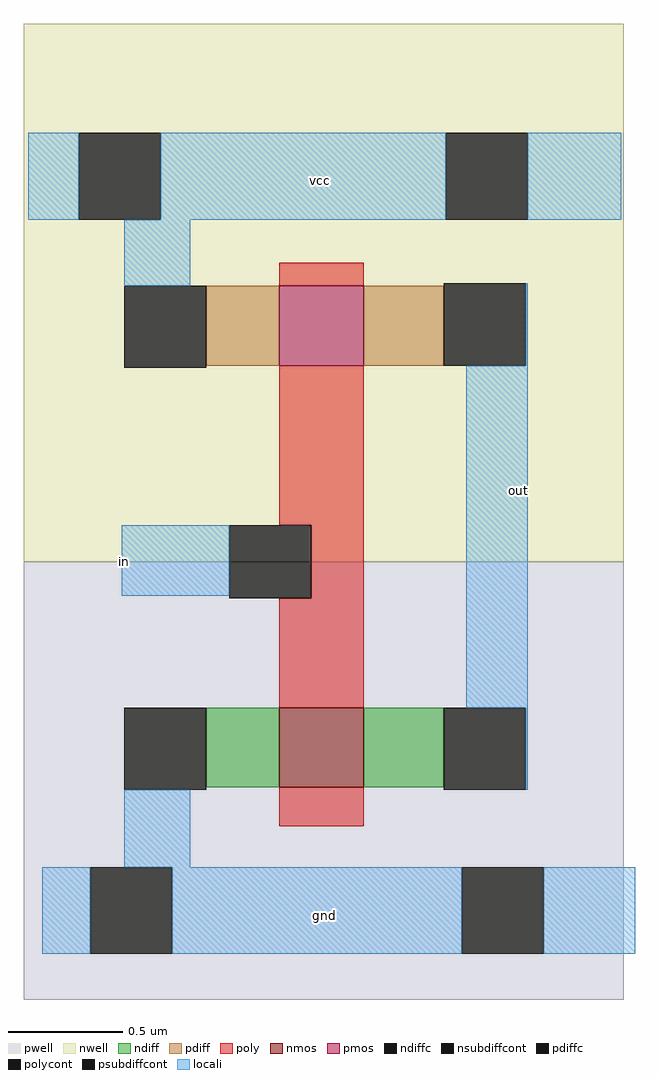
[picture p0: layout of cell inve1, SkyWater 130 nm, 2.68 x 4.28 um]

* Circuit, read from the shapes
.subckt inve1 gnd in out vcc
XM1 out in gnd gnd sky130_fd_pr__nfet_01v8 w=0.35 l=0.37
XM2 out in vcc vcc sky130_fd_pr__pfet_01v8 w=0.35 l=0.37
.ends

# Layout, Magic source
magic
tech sky130A
<< nwell >>
rect -132 -134 131 102
<< pwell >>
rect -132 -326 131 -134
<< nmos >>
rect -20 -233 17 -198
<< pmos >>
rect -20 -48 17 -13
<< ndiff >>
rect -52 -233 -20 -198
rect 17 -233 52 -198
<< pdiff >>
rect -52 -48 -20 -13
rect 17 -48 52 -13
<< ndiffc >>
rect -88 -234 -52 -198
rect 52 -234 88 -198
<< pdiffc >>
rect -88 -49 -52 -13
rect 52 -48 88 -12
<< psubdiffcont >>
rect -103 -306 -67 -268
rect 60 -306 96 -268
<< nsubdiffcont >>
rect -108 16 -72 54
rect 53 16 89 54
<< poly >>
rect -20 -13 17 -3
rect -20 -118 17 -48
rect -6 -150 17 -118
rect -20 -198 17 -150
rect -20 -250 17 -233
<< polycont >>
rect -42 -150 -6 -118
<< locali >>
rect -130 16 -108 54
rect -72 16 53 54
rect 89 16 130 54
rect -88 -13 -59 16
rect 88 -48 89 -12
rect -89 -149 -42 -118
rect 62 -198 89 -48
rect 88 -234 89 -198
rect -88 -268 -59 -234
rect -124 -306 -103 -268
rect -67 -306 60 -268
rect 96 -306 136 -268
<< labels >>
rlabel locali -88 -134 -88 -134 7 in
rlabel locali 0 -289 0 -289 5 gnd
rlabel locali -2 33 -2 33 1 vcc
rlabel locali 85 -103 85 -103 3 out
<< end >>
